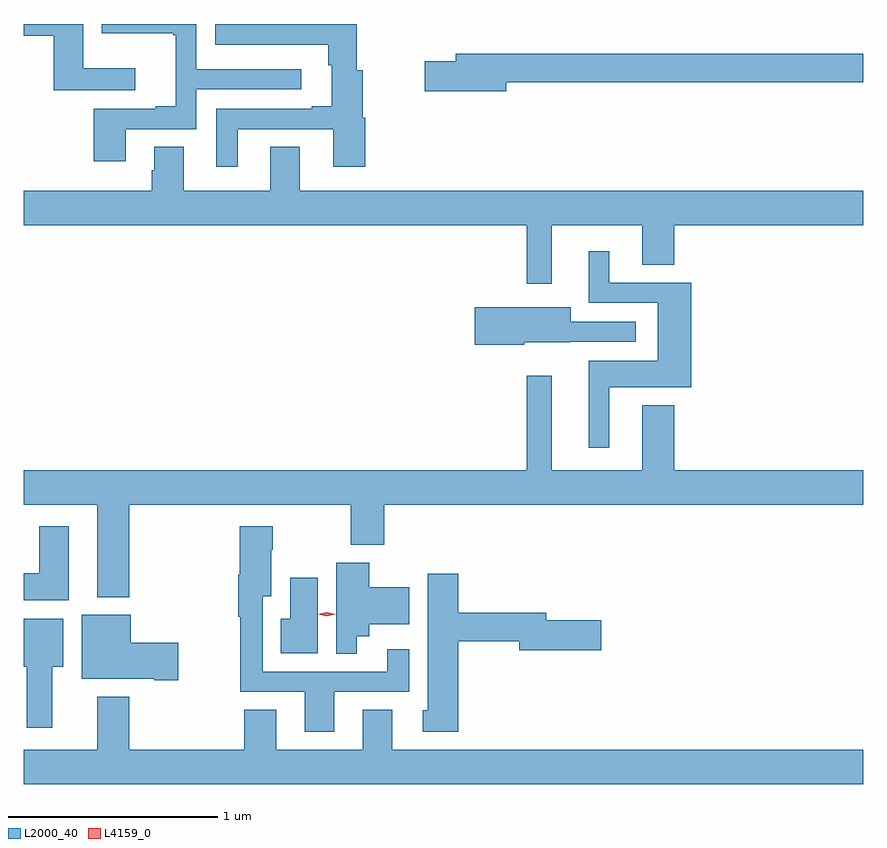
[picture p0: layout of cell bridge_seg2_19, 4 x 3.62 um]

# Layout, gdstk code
import gdstk
lib = gdstk.Library(unit=1e-6, precision=1e-09)
def P(c, l, *ps):  # polygons
    for p in ps: c.add(gdstk.Polygon(p, *l))
L2000_40 = (2000, 40)
L4159_0 = (4159, 0)

bridge_seg2_19 = lib.new_cell('bridge_seg2_19')
P(bridge_seg2_19, L2000_40, [(771.526,614.793),(771.861,614.793),(771.861,614.982),(772.363,614.982),(772.363,615.078),(771.861,615.078),(771.861,615.294),(771.411,615.294),(771.411,615.251),(771.753,615.251),(771.753,615.24),(771.764,615.24),(771.764,614.902),(771.668,614.902),(771.668,614.889),(771.374,614.889),(771.374,614.64),(771.526,614.64)],
  [(771.571,615.082),(771.322,615.082),(771.322,615.294),(771.04,615.294),(771.04,615.238),(771.182,615.238),(771.182,614.978),(771.571,614.978)],
  [(772.06,614.793),(772.514,614.793),(772.514,614.613),(772.667,614.613),(772.667,614.847),(772.654,614.847),(772.654,615.073),(772.627,615.073),(772.627,615.294),(771.953,615.294),(771.953,615.194),(772.491,615.194),(772.491,615.098),(772.508,615.098),(772.508,614.902),(772.412,614.902),(772.412,614.889),(771.956,614.889),(771.956,614.613),(772.06,614.613)],
  [(773.338,615.016),(775.04,615.016),(775.04,615.152),(773.099,615.152),(773.099,615.116),(772.95,615.116),(772.95,614.974),(773.338,614.974)],
  [(773.436,614.055),(773.557,614.055),(773.557,614.336),(773.987,614.336),(773.987,614.146),(774.14,614.146),(774.14,614.336),(775.04,614.336),(775.04,614.5),(772.354,614.5),(772.354,614.708),(772.214,614.708),(772.214,614.5),(771.802,614.5),(771.802,614.708),(771.662,614.708),(771.662,614.598),(771.65,614.598),(771.65,614.5),(771.04,614.5),(771.04,614.336),(773.436,614.336)],
  [(773.83,613.562),(774.221,613.562),(774.221,614.061),(773.83,614.061),(773.83,614.212),(773.732,614.212),(773.732,613.965),(774.062,613.965),(774.062,613.69),(773.732,613.69),(773.732,613.275),(773.83,613.275)],
  [(773.424,613.778),(773.643,613.778),(773.643,613.779),(773.956,613.779),(773.956,613.875),(773.647,613.875),(773.647,613.944),(773.19,613.944),(773.19,613.766),(773.424,613.766)],
  [(775.04,613.168),(774.14,613.168),(774.14,613.477),(773.987,613.477),(773.987,613.168),(773.557,613.168),(773.557,613.618),(773.436,613.618),(773.436,613.168),(771.04,613.168),(771.04,613.004),(771.389,613.004),(771.389,612.563),(771.542,612.563),(771.542,613.004),(772.597,613.004),(772.597,612.812),(772.757,612.812),(772.757,613.004),(775.04,613.004)],
  [(772.519,612.111),(772.876,612.111),(772.876,612.313),(772.772,612.313),(772.772,612.207),(772.179,612.207),(772.179,612.566),(772.219,612.566),(772.219,612.788),(772.227,612.788),(772.227,612.901),(772.07,612.901),(772.07,612.67),(772.063,612.67),(772.063,612.47),(772.071,612.47),(772.071,612.111),(772.379,612.111),(772.379,611.922),(772.519,611.922)],
  [(771.253,612.901),(771.113,612.901),(771.113,612.676),(771.04,612.676),(771.04,612.548),(771.253,612.548)],
  [(772.627,612.377),(772.687,612.377),(772.687,612.434),(772.876,612.434),(772.876,612.61),(772.687,612.61),(772.687,612.727),(772.529,612.727),(772.529,612.506),(772.53,612.506),(772.53,612.292),(772.627,612.292)],
  [(773.111,612.352),(773.402,612.352),(773.402,612.31),(773.791,612.31),(773.791,612.452),(773.53,612.452),(773.53,612.488),(773.111,612.488),(773.111,612.673),(772.964,612.673),(772.964,612.024),(772.94,612.024),(772.94,611.922),(773.111,611.922)],
  [(772.441,612.655),(772.31,612.655),(772.31,612.46),(772.264,612.46),(772.264,612.296),(772.441,612.296)],
  [(771.775,612.344),(771.55,612.344),(771.55,612.478),(771.317,612.478),(771.317,612.173),(771.662,612.173),(771.662,612.166),(771.775,612.166)],
  [(771.175,612.23),(771.229,612.23),(771.229,612.46),(771.04,612.46),(771.04,612.23),(771.053,612.23),(771.053,611.94),(771.175,611.94)],
  [(775.04,611.836),(772.795,611.836),(772.795,612.026),(772.655,612.026),(772.655,611.836),(772.243,611.836),(772.243,612.026),(772.091,612.026),(772.091,611.836),(771.542,611.836),(771.542,612.088),(771.389,612.088),(771.389,611.836),(771.04,611.836),(771.04,611.672),(775.04,611.672)])
P(bridge_seg2_19, L4159_0, [(772.484,612.471),(772.444,612.48),(772.443,612.48),(772.444,612.48),(772.484,612.491),(772.524,612.482),(772.525,612.482),(772.524,612.482)])

lib.write_gds('bridge_seg2_19.gds')
